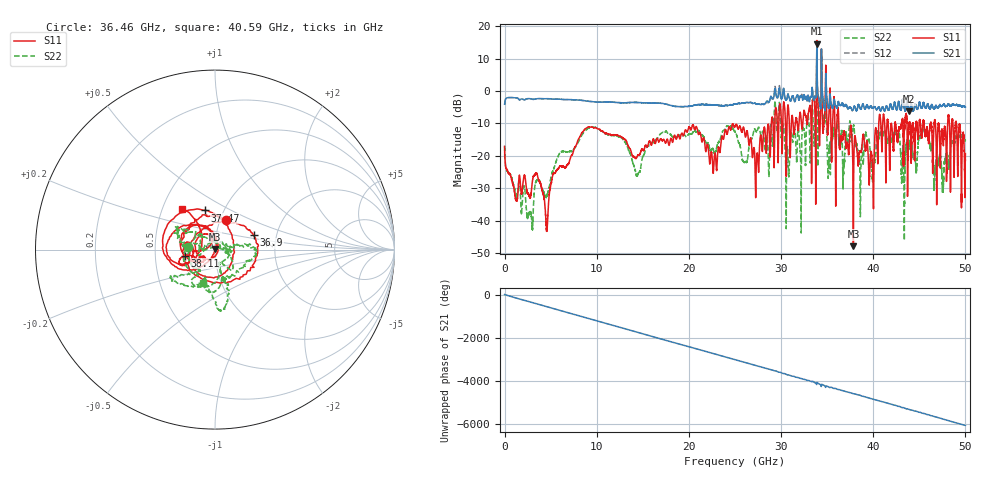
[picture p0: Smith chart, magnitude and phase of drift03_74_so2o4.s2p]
!Created with skrf (http://scikit-rf.org).
# Hz S RI R 50.0
!freq ReS11 ImS11 ReS21 ImS21 ReS12 ImS12 ReS22 ImS22
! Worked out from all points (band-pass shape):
!   10001 points, 300 kHz to 50 GHz, reference 50 ohm
!   highest |S21| = 14.67 dB at 33.88 GHz (marker M1); lowest = -6.3 dB at 43.92 GHz (marker M2)
!   |S21| within 3 dB of the highest: 33.86911 GHz to 33.88787 GHz (18.76 MHz wide, 0.0554 % of centre); 34.37726 GHz to 34.38752 GHz (10.26 MHz wide, 0.0298 % of centre)
!   lowest |S11| = -47.9 dB at 37.85 GHz (marker M3), VSWR 1.01, Z = 50.2 + j0.362 ohm
!   |S11| at or under -10 dB: start of sweep to 28.94 GHz; 36.26 GHz to 40.6 GHz (4.337 GHz wide, 11.3 % of centre); 47.09 GHz to 48.08 GHz (989.7 MHz wide, 2.08 % of centre) (the widest 3 of 58)
!   |S22| runs from -46.2 to 11.4 dB; largest |S21 - S12| = 0.8
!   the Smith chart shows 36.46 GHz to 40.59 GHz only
!   S11 on the Smith chart (normalised r, x): 36.46 GHz: 1.07, +0.36; 36.9 GHz: 1.53, +0.26; 37.47 GHz: 0.82, +0.37; 38.11 GHz: 0.71, -0.05; 40.59 GHz: 0.63, +0.31
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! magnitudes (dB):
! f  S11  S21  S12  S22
! 300 kHz  -17.1  -4.0  -4.0  -16.8
! 2.82 GHz  -32.6  -2.4  -2.4  -38.0
! 4.555 GHz  -43.3  -2.3  -2.3  -32.5
! 8.335 GHz  -13.1  -2.8  -2.8  -13.9
! 14.45 GHz  -19.9  -3.5  -3.5  -25.8
! 16.67 GHz  -15.4  -3.7  -3.7  -14.3
! 22.82 GHz  -19.3  -4.3  -4.3  -19.2
! 25 GHz  -10.9  -4.0  -4.0  -12.4
! 27.39 GHz  -19.3  -4.1  -4.1  -12.4
! 29.6 GHz  -10.5  -2.0  -2.1  -11.7
! 30.7 GHz  -5.7  -1.4  -1.5  -17.3
! 33.34 GHz  -13.8  -0.5  -0.5  -7.1
! 33.88 GHz  15.7  14.7  14.4  11.2
! 36.46 GHz  -15.1  -4.4  -4.4  -16.3
! 36.9 GHz  -12.7  -4.6  -4.6  -20.9
! 37.47 GHz  -12.9  -5.0  -5.1  -9.5
! 37.85 GHz  -47.9  -5.4  -5.4  -11.0
! 38.11 GHz  -15.3  -5.8  -5.8  -16.7
! 40.59 GHz  -10.7  -4.9  -4.9  -14.1
! 41.67 GHz  -12.1  -5.9  -5.9  -15.2
! 43.92 GHz  -9.8  -6.3  -6.1  -16.6
! 50 GHz  -19.3  -4.9  -4.9  -15.0
